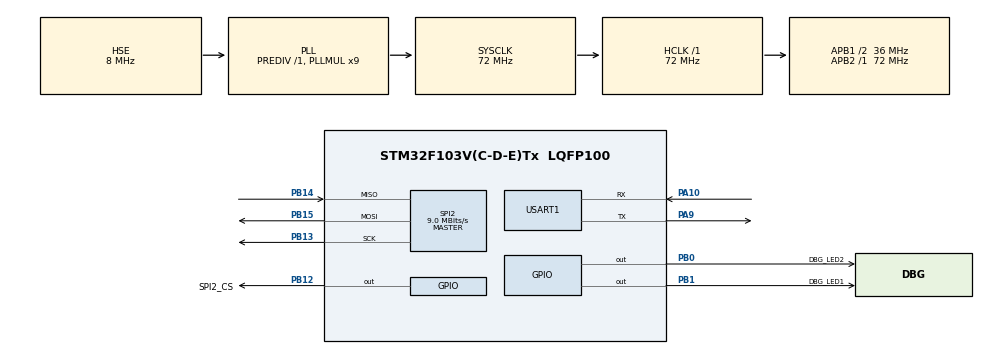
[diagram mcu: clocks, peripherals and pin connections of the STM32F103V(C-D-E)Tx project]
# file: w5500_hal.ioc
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FREERTOS.Tasks01=defaultTask,0,512,StartDefaultTask,Default,NULL,Dynamic,NULL,NULL;oneHZTask,-3,512,oneHZFun,Default,NULL,Dynamic,NULL,NULL;ethUpdataTask,2,1024,ETH_Update,Default,NULL,Dynamic,NULL,NULL
FREERTOS.configCHECK_FOR_STACK_OVERFLOW=2
FREERTOS.configTOTAL_HEAP_SIZE=32768
Mcu.Family=STM32F1
Mcu.Name=STM32F103V(C-D-E)Tx
Mcu.Package=LQFP100
NVIC.PriorityGroup=NVIC_PRIORITYGROUP_4
NVIC.TIM1_UP_IRQn=true\:0\:0\:false\:false\:true\:false\:false\:true
NVIC.TimeBase=TIM1_UP_IRQn
NVIC.TimeBaseIP=TIM1
NVIC.USART1_IRQn=true\:5\:0\:false\:false\:true\:true\:true\:true
OSC_IN.Mode=HSE-External-Oscillator
OSC_IN.Signal=RCC_OSC_IN
OSC_OUT.Mode=HSE-External-Oscillator
OSC_OUT.Signal=RCC_OSC_OUT
PA10.Mode=Asynchronous
PA10.Signal=USART1_RX
PA13.Mode=Serial_Wire
PA13.Signal=SYS_JTMS-SWDIO
PA14.Mode=Serial_Wire
PA14.Signal=SYS_JTCK-SWCLK
PA9.Mode=Asynchronous
PA9.Signal=USART1_TX
PB0.GPIO_Label=DBG_LED2
PB0.Signal=GPIO_Output
PB1.GPIO_Label=DBG_LED1
PB1.Signal=GPIO_Output
PB12.GPIO_Label=SPI2_CS
PB12.Signal=GPIO_Output
PB13.Mode=Full_Duplex_Master
PB13.Signal=SPI2_SCK
PB14.Mode=Full_Duplex_Master
PB14.Signal=SPI2_MISO
PB15.Mode=Full_Duplex_Master
PB15.Signal=SPI2_MOSI
ProjectManager.HeapSize=0x3000
ProjectManager.StackSize=0x800
ProjectManager.TargetToolchain=MDK-ARM V5.27
RCC.AHBFreq_Value=72000000
RCC.APB1CLKDivider=RCC_HCLK_DIV2
RCC.APB1Freq_Value=36000000
RCC.APB1TimFreq_Value=72000000
RCC.APB2Freq_Value=72000000
RCC.APB2TimFreq_Value=72000000
RCC.HCLKFreq_Value=72000000
RCC.PLLMUL=RCC_PLL_MUL9
RCC.PLLSourceVirtual=RCC_PLLSOURCE_HSE
RCC.SYSCLKFreq_VALUE=72000000
RCC.SYSCLKSource=RCC_SYSCLKSOURCE_PLLCLK
RCC.USBFreq_Value=72000000
SPI2.BaudRatePrescaler=SPI_BAUDRATEPRESCALER_4
SPI2.CalculateBaudRate=9.0 MBits/s
SPI2.Direction=SPI_DIRECTION_2LINES
SPI2.Mode=SPI_MODE_MASTER
SPI2.VirtualType=VM_MASTER
USART1.VirtualMode=VM_ASYNC
VP_FREERTOS_VS_CMSIS_V1.Mode=CMSIS_V1
VP_SYS_VS_tim1.Mode=TIM1
board=custom

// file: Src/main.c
/* USER CODE BEGIN Header */
/**
  ******************************************************************************
  * @file           : main.c
  * @brief          : Main program body
  ******************************************************************************
  * @attention
  *
  * <h2><center>&copy; Copyright (c) 2021 STMicroelectronics.
  * All rights reserved.</center></h2>
  *
  * This software component is licensed by ST under Ultimate Liberty license
  * SLA0044, the "License"; You may not use this file except in compliance with
  * the License. You may obtain a copy of the License at:
  *                             www.st.com/SLA0044
  *
  ******************************************************************************
  */
/* USER CODE END Header */

#include "main.h"
#include "cmsis_os.h"
#include "spi.h"
#include "usart.h"
#include "gpio.h"

/* USER CODE BEGIN Includes */
#include "EthernetServer.h"
#include "EthernetClient.h"
/* USER CODE END Includes */

/* USER CODE BEGIN PM */
#define CLIENT_MAX_COUNT 2
#define CONTROL_CLIENT_INDEX 0
#define DEBUG_CLIENT_INDEX 1
/* USER CODE END PM */

/* USER CODE BEGIN PV */
ETH_ServerHandleTypeDef control_server = {23};
ETH_ServerHandleTypeDef dbg_server = {24};
ETH_ClientHandleTypeDef clients[CLIENT_MAX_COUNT] = {MAX_SOCK_NUM,MAX_SOCK_NUM};
unsigned long last_heartbeat[2] = {0,0};
unsigned long heartbeat_timeout = 2000;
extern osMutexId SerialSemaphoreHandle;
extern osMutexId ETHSemaphoreHandle;
volatile bool ETH_Lock = true;
/* USER CODE END PV */

void SystemClock_Config(void);
void MX_FREERTOS_Init(void);
/* USER CODE BEGIN PFP */
void CreateMutex(void);
/* USER CODE END PFP */

int main(void)
{

  /* MCU Configuration--------------------------------------------------------*/

  /* Reset of all peripherals, Initializes the Flash interface and the Systick. */
  HAL_Init();

  /* Configure the system clock */
  SystemClock_Config();

  /* Initialize all configured peripherals */
  MX_GPIO_Init();
  MX_USART1_UART_Init();
  MX_SPI2_Init();
  /* USER CODE BEGIN 2 */
	/* Call init function for freertos objects (in freertos.c) */
  UART_Begin_IT(&huart1);
	HAL_GPIO_WritePin(DBG_LED1_GPIO_Port,DBG_LED1_Pin,GPIO_PIN_SET);
  CreateMutex();
	ethInit();
	DbgPrint("Setup Init Finish!\r\n");
  /* USER CODE END 2 */

  /* Call init function for freertos objects (in freertos.c) */
  MX_FREERTOS_Init();
  /* Start scheduler */
  osKernelStart();

  /* We should never get here as control is now taken by the scheduler */
  /* Infinite loop */
  while (1)
  {

	}
}

void SystemClock_Config(void)
{
  RCC_OscInitTypeDef RCC_OscInitStruct = {0};
  RCC_ClkInitTypeDef RCC_ClkInitStruct = {0};

  /** Initializes the CPU, AHB and APB busses clocks
  */
  RCC_OscInitStruct.OscillatorType = RCC_OSCILLATORTYPE_HSE;
  RCC_OscInitStruct.HSEState = RCC_HSE_ON;
  RCC_OscInitStruct.HSEPredivValue = RCC_HSE_PREDIV_DIV1;
  RCC_OscInitStruct.HSIState = RCC_HSI_ON;
  RCC_OscInitStruct.PLL.PLLState = RCC_PLL_ON;
  RCC_OscInitStruct.PLL.PLLSource = RCC_PLLSOURCE_HSE;
  RCC_OscInitStruct.PLL.PLLMUL = RCC_PLL_MUL9;
  if (HAL_RCC_OscConfig(&RCC_OscInitStruct) != HAL_OK)
  {
    Error_Handler();
  }
  /** Initializes the CPU, AHB and APB busses clocks
  */
  RCC_ClkInitStruct.ClockType = RCC_CLOCKTYPE_HCLK|RCC_CLOCKTYPE_SYSCLK
                              |RCC_CLOCKTYPE_PCLK1|RCC_CLOCKTYPE_PCLK2;
  RCC_ClkInitStruct.SYSCLKSource = RCC_SYSCLKSOURCE_PLLCLK;
  RCC_ClkInitStruct.AHBCLKDivider = RCC_SYSCLK_DIV1;
  RCC_ClkInitStruct.APB1CLKDivider = RCC_HCLK_DIV2;
  RCC_ClkInitStruct.APB2CLKDivider = RCC_HCLK_DIV1;

  if (HAL_RCC_ClockConfig(&RCC_ClkInitStruct, FLASH_LATENCY_2) != HAL_OK)
  {
    Error_Handler();
  }
}

/* USER CODE BEGIN 4 */
void DbgPrint(char *format, ...)
{
	char  buf_str[200 + 1];
	va_list   v_args;
	va_start(v_args, format);
	(void)vsnprintf((char       *)&buf_str[0],
								 (size_t      ) sizeof(buf_str),
								 (char const *) format,
																v_args);
  va_end(v_args);
	if((SERIAL_DEBUG) && ( xSemaphoreTake( SerialSemaphoreHandle, ( TickType_t ) 5 ) == pdTRUE ))
  {
		printf("%s", buf_str);
		xSemaphoreGive( SerialSemaphoreHandle );
	}
	if( (ETH_DEBUG)&&((xSemaphoreTake( ETHSemaphoreHandle, ( TickType_t ) 5 ) == pdTRUE)||(!ETH_Lock)) )
	{
		if(ETH_Client_connected(&clients[DEBUG_CLIENT_INDEX]))
		{
			ETH_Client_write_Arr(&clients[DEBUG_CLIENT_INDEX],(uint8_t*)(buf_str),strlen(buf_str));
		}
		xSemaphoreGive( ETHSemaphoreHandle );
	}
}

void ethInit(void)
{
  static uint8_t MAC[] =  {0xDE, 0xAD, 0xBE, 0xEF, 0xFE, 0xEE} ;
  static IP_AddressTypeDef IP = {192,168,0,175};
  do
  {
    ETH_begin(MAC, &IP);
    HAL_Delay(20);
  }while( (ETH_localIP().addr[2]!=IP.addr[2])||(ETH_localIP().addr[3]!=IP.addr[3]) );
  // start listening for clients
  ETH_Server_begin(&control_server);
  if(ETH_DEBUG)
    ETH_Server_begin(&dbg_server);
  DbgPrint("ETH Init Finish, in IP:%d,%d\r\n",ETH_localIP().addr[2],ETH_localIP().addr[3]);
}

void ethEvent()
{
  static uint8_t last_con[CLIENT_MAX_COUNT] = {0,0};
	if( xSemaphoreTake( ETHSemaphoreHandle, ( TickType_t ) 10 ) == pdTRUE )
	{
		ETH_Lock = false;
		for(uint8_t i=0;i<CLIENT_MAX_COUNT;++i)
		{
			uint8_t s = ETH_Client_connected(&clients[i]);
	//		DbgPrint("Client S:%d,%d,%d\r\n",i,s,ETH_Client_status(&clients[i]));
			if(last_con[i]!=s)
			{
				DbgPrint("clients[%d] state:%d+ To %d,%d\r\n",i,last_con[i],s,ETH_Client_status(&clients[i]));
				if((last_con[i]==1)&&(s==0))
				{
					ETH_Client_stop(&clients[i]);
					DbgPrint("clients[%d] stop\r\n",i);
				}
				last_con[i]=s;
			}
		}
		if(ETH_DEBUG)
		{
			ETH_ClientHandleTypeDef client = ETH_Server_available(&dbg_server);
			if(ETH_Client_isOK(&client))
			{
				if(!ETH_Client_isIdentical(&client,&clients[DEBUG_CLIENT_INDEX]))
				{
					if(ETH_Client_connected(&clients[DEBUG_CLIENT_INDEX]))
					{
						ETH_Client_stop(&clients[DEBUG_CLIENT_INDEX]);
						last_con[DEBUG_CLIENT_INDEX] = 0;
						DbgPrint("DEBUG_CLIENT active stop, reconnect to new client\r\n");
					}
					clients[DEBUG_CLIENT_INDEX] = client;
					DbgPrint("We start have a new debug client message!\r\n");
				}
				const uint8_t n = ETH_Client_available(&client);
				uint8_t rece[n];
				ETH_Client_read_Arr(&client,rece,n);
			}
		}
		ETH_ClientHandleTypeDef client = ETH_Server_available(&control_server);
	//	DbgPrint("Server client:%d,%d,%d\r\n",client._sock,ETH_Client_isOK(&client),ETH_Client_isIdentical(&client,&clients[CONTROL_CLIENT_INDEX]));
		if(ETH_Client_isOK(&client))
		{
			if(!ETH_Client_isIdentical(&client,&clients[CONTROL_CLIENT_INDEX]))
			{
				if(ETH_Client_connected(&clients[CONTROL_CLIENT_INDEX]))
				{
					ETH_Client_stop(&clients[CONTROL_CLIENT_INDEX]);
					last_con[CONTROL_CLIENT_INDEX] = 0;
					DbgPrint("CONTROL_CLIENT active stop, reconnect to new client\r\n");
				}
				clients[CONTROL_CLIENT_INDEX] = client;
				DbgPrint("We start have a new control client message!\r\n");
			}
			uint16_t n = ETH_Client_available(&client);
			if(n>0)
			{
				uint8_t rece[n];
				ETH_Client_read_Arr(&client,rece,n);
				ETH_Client_write_Arr(&client,rece,n);
		//		DbgPrint("ETH Rece:");
		//		for (int i=0;i<n;i++)
		//		  DbgPrint("%d ",rece[i]);
		//		DbgPrint("\r\n");
				// uint8_t h[5]={0xee,0xee,0xee,0xee,0xee};
				// ethDbgWrite(h,5);
				// ethDbgWrite(rece,n);
		//    control_protocol::addData(rece,n);
			}
		}
		ETH_Lock = true;
		xSemaphoreGive( ETHSemaphoreHandle );
	}
}

/* USER CODE END 4 */

 /**
  * @brief  Period elapsed callback in non blocking mode
  * @note   This function is called  when TIM1 interrupt took place, inside
  * HAL_TIM_IRQHandler(). It makes a direct call to HAL_IncTick() to increment
  * a global variable "uwTick" used as application time base.
  * @param  htim : TIM handle
  * @retval None
  */
void HAL_TIM_PeriodElapsedCallback(TIM_HandleTypeDef *htim)
{
  if (htim->Instance == TIM1) {
    HAL_IncTick();
  }
}

void Error_Handler(void)
{
}

/************************ (C) COPYRIGHT STMicroelectronics *****END OF FILE****/

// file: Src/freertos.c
/* USER CODE BEGIN Header */
/**
  ******************************************************************************
  * File Name          : freertos.c
  * Description        : Code for freertos applications
  ******************************************************************************
  * @attention
  *
  * <h2><center>&copy; Copyright (c) 2021 STMicroelectronics.
  * All rights reserved.</center></h2>
  *
  * This software component is licensed by ST under Ultimate Liberty license
  * SLA0044, the "License"; You may not use this file except in compliance with
  * the License. You may obtain a copy of the License at:
  *                             www.st.com/SLA0044
  *
  ******************************************************************************
  */
/* USER CODE END Header */

#include "FreeRTOS.h"
#include "task.h"
#include "main.h"
#include "cmsis_os.h"

/* USER CODE BEGIN Includes */
#include "usart.h"
/* USER CODE END Includes */

/* USER CODE BEGIN Variables */
osMutexId SerialSemaphoreHandle;
osMutexId ETHSemaphoreHandle;
/* USER CODE END Variables */
osThreadId defaultTaskHandle;
osThreadId oneHZTaskHandle;
osThreadId ethUpdataTaskHandle;

/* USER CODE BEGIN FunctionPrototypes */
void CreateMutex(void);
/* USER CODE END FunctionPrototypes */

void StartDefaultTask(void const * argument);
void oneHZFun(void const * argument);
void ETH_Update(void const * argument);

void MX_FREERTOS_Init(void); /* (MISRA C 2004 rule 8.1) */

/* GetIdleTaskMemory prototype (linked to static allocation support) */
void vApplicationGetIdleTaskMemory( StaticTask_t **ppxIdleTaskTCBBuffer, StackType_t **ppxIdleTaskStackBuffer, uint32_t *pulIdleTaskStackSize );

/* Hook prototypes */
void vApplicationStackOverflowHook(xTaskHandle xTask, signed char *pcTaskName);

/* USER CODE BEGIN 4 */
void vApplicationStackOverflowHook(xTaskHandle xTask, signed char *pcTaskName)
{
   /* Run time stack overflow checking is performed if
   configCHECK_FOR_STACK_OVERFLOW is defined to 1 or 2. This hook function is
   called if a stack overflow is detected. */
	HAL_GPIO_WritePin(DBG_LED1_GPIO_Port,DBG_LED1_Pin,GPIO_PIN_RESET);
	DbgPrint("Stack Overflow:%s",pcTaskName);
}
void CreateMutex(void)
{
  /* definition and creation of SerialSemaphore */
  osMutexDef(SerialSemaphore);
  SerialSemaphoreHandle = osMutexCreate(osMutex(SerialSemaphore));

  /* definition and creation of ETHSemaphore */
  osMutexDef(ETHSemaphore);
  ETHSemaphoreHandle = osMutexCreate(osMutex(ETHSemaphore));
}
/* USER CODE END 4 */

/* USER CODE BEGIN GET_IDLE_TASK_MEMORY */
static StaticTask_t xIdleTaskTCBBuffer;
static StackType_t xIdleStack[configMINIMAL_STACK_SIZE];

void vApplicationGetIdleTaskMemory( StaticTask_t **ppxIdleTaskTCBBuffer, StackType_t **ppxIdleTaskStackBuffer, uint32_t *pulIdleTaskStackSize )
{
  *ppxIdleTaskTCBBuffer = &xIdleTaskTCBBuffer;
  *ppxIdleTaskStackBuffer = &xIdleStack[0];
  *pulIdleTaskStackSize = configMINIMAL_STACK_SIZE;
  /* place for user code */
}
/* USER CODE END GET_IDLE_TASK_MEMORY */

void MX_FREERTOS_Init(void) {

  /* Create the thread(s) */
  /* definition and creation of defaultTask */
  osThreadDef(defaultTask, StartDefaultTask, osPriorityNormal, 0, 512);
  defaultTaskHandle = osThreadCreate(osThread(defaultTask), NULL);

  /* definition and creation of oneHZTask */
  osThreadDef(oneHZTask, oneHZFun, osPriorityIdle, 0, 512);
  oneHZTaskHandle = osThreadCreate(osThread(oneHZTask), NULL);

  /* definition and creation of ethUpdataTask */
  osThreadDef(ethUpdataTask, ETH_Update, osPriorityHigh, 0, 1024);
  ethUpdataTaskHandle = osThreadCreate(osThread(ethUpdataTask), NULL);

}

void StartDefaultTask(void const * argument)
{
  /* USER CODE BEGIN StartDefaultTask */
  /* Infinite loop */
  for(;;)
  {
		DbgPrint("Start:%f\r\n",HAL_GetTick()/1000.0);
    osDelay(20);
  }
  /* USER CODE END StartDefaultTask */
}

void oneHZFun(void const * argument)
{
  /* USER CODE BEGIN oneHZFun */
  /* Infinite loop */
  for(;;)
  {
		DbgPrint("\t\toneHZ:%f\r\n",(float)(HAL_GetTick()/1000.0));
		HAL_GPIO_WritePin(DBG_LED2_GPIO_Port,DBG_LED2_Pin,GPIO_PIN_RESET);
    osDelay(500);
		HAL_GPIO_WritePin(DBG_LED2_GPIO_Port,DBG_LED2_Pin,GPIO_PIN_SET);
    osDelay(500);
  }
  /* USER CODE END oneHZFun */
}

void ETH_Update(void const * argument)
{
  /* USER CODE BEGIN ETH_Update */
  /* Infinite loop */
  for(;;)
  {
		DbgPrint("\t\t\t\tupdate:%f\r\n",HAL_GetTick()/1000.0);
		ethEvent();
		osDelay(10);
  }
  /* USER CODE END ETH_Update */
}

/************************ (C) COPYRIGHT STMicroelectronics *****END OF FILE****/
